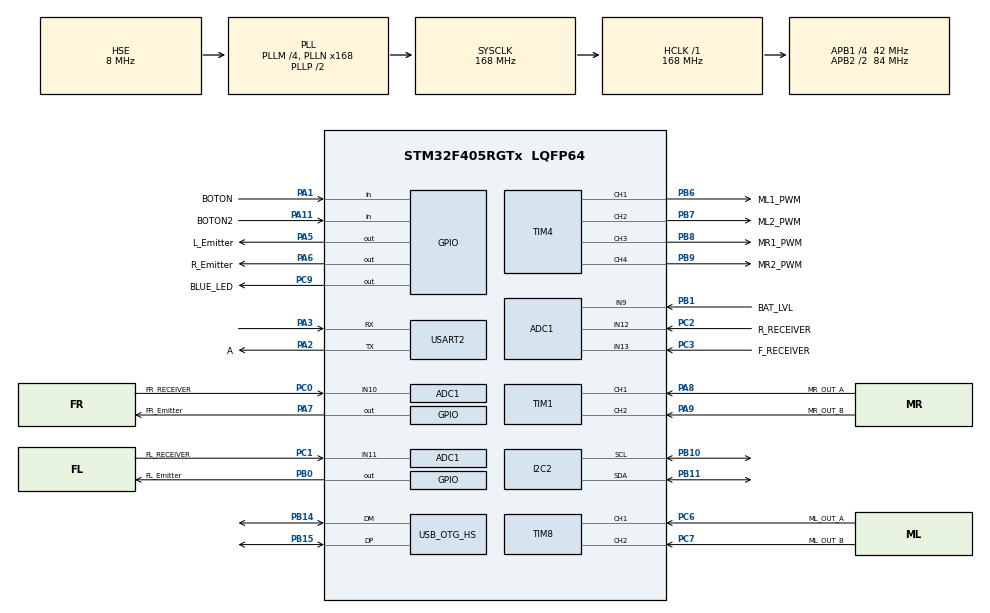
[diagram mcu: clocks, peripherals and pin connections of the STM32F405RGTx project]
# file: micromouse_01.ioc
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ADC1.Channel-0\#ChannelRegularConversion=ADC_CHANNEL_10
ADC1.NbrOfConversionFlag=1
ADC1.Rank-0\#ChannelRegularConversion=1
ADC1.SamplingTime-0\#ChannelRegularConversion=ADC_SAMPLETIME_3CYCLES
ADC1.master=1
Mcu.Family=STM32F4
Mcu.Name=STM32F405RGTx
Mcu.Package=LQFP64
NVIC.PriorityGroup=NVIC_PRIORITYGROUP_4
PA1.GPIO_Label=BOTON
PA1.GPIO_PuPd=GPIO_NOPULL
PA1.Signal=GPIO_Input
PA11.GPIO_Label=BOTON2
PA11.GPIO_PuPd=GPIO_NOPULL
PA11.Signal=GPIO_Input
PA13.Mode=Serial_Wire
PA13.Signal=SYS_JTMS-SWDIO
PA14.Mode=Serial_Wire
PA14.Signal=SYS_JTCK-SWCLK
PA2.GPIO_Label=A
PA2.Mode=Asynchronous
PA2.Signal=USART2_TX
PA3.Mode=Asynchronous
PA3.Signal=USART2_RX
PA5.GPIO_Label=L_Emitter
PA5.Signal=GPIO_Output
PA6.GPIO_Label=R_Emitter
PA6.Signal=GPIO_Output
PA7.GPIO_Label=FR_Emitter
PA7.Signal=GPIO_Output
PA8.GPIO_Label=MR_OUT_A
PA8.Signal=S_TIM1_CH1
PA9.GPIO_Label=MR_OUT_B
PA9.Signal=S_TIM1_CH2
PB0.GPIO_Label=FL_Emitter
PB0.Signal=GPIO_Output
PB1.GPIO_Label=BAT_LVL
PB1.Signal=ADCx_IN9
PB10.Mode=I2C
PB10.Signal=I2C2_SCL
PB11.Mode=I2C
PB11.Signal=I2C2_SDA
PB14.Mode=Device_Only_FS
PB14.Signal=USB_OTG_HS_DM
PB15.Mode=Device_Only_FS
PB15.Signal=USB_OTG_HS_DP
PB6.GPIO_Label=ML1_PWM
PB6.Signal=S_TIM4_CH1
PB7.GPIO_Label=ML2_PWM
PB7.Signal=S_TIM4_CH2
PB8.GPIO_Label=MR1_PWM
PB8.Signal=S_TIM4_CH3
PB9.GPIO_Label=MR2_PWM
PB9.Signal=S_TIM4_CH4
PC0.GPIO_Label=FR_RECEIVER
PC0.Signal=ADCx_IN10
PC1.GPIO_Label=FL_RECEIVER
PC1.Signal=ADCx_IN11
PC2.GPIO_Label=R_RECEIVER
PC2.Signal=ADCx_IN12
PC3.GPIO_Label=F_RECEIVER
PC3.Signal=ADCx_IN13
PC6.GPIO_Label=ML_OUT_A
PC6.Signal=S_TIM8_CH1
PC7.GPIO_Label=ML_OUT_B
PC7.Signal=S_TIM8_CH2
PC9.GPIO_Label=BLUE_LED
PC9.Signal=GPIO_Output
PH0-OSC_IN.Mode=HSE-External-Oscillator
PH0-OSC_IN.Signal=RCC_OSC_IN
PH1-OSC_OUT.Mode=HSE-External-Oscillator
PH1-OSC_OUT.Signal=RCC_OSC_OUT
ProjectManager.HeapSize=0x200
ProjectManager.StackSize=0x400
ProjectManager.TargetToolchain=STM32CubeIDE
RCC.48MHZClocksFreq_Value=48000000
RCC.AHBFreq_Value=168000000
RCC.APB1CLKDivider=RCC_HCLK_DIV4
RCC.APB1Freq_Value=42000000
RCC.APB1TimFreq_Value=84000000
RCC.APB2CLKDivider=RCC_HCLK_DIV2
RCC.APB2Freq_Value=84000000
RCC.APB2TimFreq_Value=168000000
RCC.CortexFreq_Value=168000000
RCC.HCLKFreq_Value=168000000
RCC.HSE_VALUE=8000000
RCC.HSI_VALUE=16000000
RCC.LSE_VALUE=32768
RCC.PLLM=4
RCC.PLLN=168
RCC.PLLQ=7
RCC.SYSCLKFreq_VALUE=168000000
RCC.SYSCLKSource=RCC_SYSCLKSOURCE_PLLCLK
RCC.VCOOutputFreq_Value=336000000
SH.ADCx_IN10.0=ADC1_IN10,IN10
SH.ADCx_IN11.0=ADC1_IN11,IN11
SH.ADCx_IN12.0=ADC1_IN12,IN12
SH.ADCx_IN13.0=ADC1_IN13,IN13
SH.ADCx_IN9.0=ADC1_IN9,IN9
SH.S_TIM1_CH1.0=TIM1_CH1,Encoder_Interface
SH.S_TIM1_CH2.0=TIM1_CH2,Encoder_Interface
SH.S_TIM4_CH1.0=TIM4_CH1,PWM Generation1 CH1
SH.S_TIM4_CH2.0=TIM4_CH2,PWM Generation2 CH2
SH.S_TIM4_CH3.0=TIM4_CH3,PWM Generation3 CH3
SH.S_TIM4_CH4.0=TIM4_CH4,PWM Generation4 CH4
SH.S_TIM8_CH1.0=TIM8_CH1,Encoder_Interface
SH.S_TIM8_CH2.0=TIM8_CH2,Encoder_Interface
TIM4.AutoReloadPreload=TIM_AUTORELOAD_PRELOAD_DISABLE
TIM4.Channel-PWM\ Generation1\ CH1=TIM_CHANNEL_1
TIM4.Channel-PWM\ Generation2\ CH2=TIM_CHANNEL_2
TIM4.Channel-PWM\ Generation3\ CH3=TIM_CHANNEL_3
TIM4.Channel-PWM\ Generation4\ CH4=TIM_CHANNEL_4
USART2.VirtualMode=VM_ASYNC
USB_OTG_HS.VirtualMode-Device_Only_FS=Device_Only_FS
board=custom

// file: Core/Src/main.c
/* USER CODE BEGIN Header */
/**
  ******************************************************************************
  * @file           : main.c
  * @brief          : Main program body
  ******************************************************************************
  * @attention
  *
  * Copyright (c) 2023 STMicroelectronics.
  * All rights reserved.
  *
  * This software is licensed under terms that can be found in the LICENSE file
  * in the root directory of this software component.
  * If no LICENSE file comes with this software, it is provided AS-IS.
  *
  ******************************************************************************
  */
/* USER CODE END Header */
#include "main.h"

/* USER CODE BEGIN Includes */
#include "irs.h"
#include "delay.h"
#include "motors.h"
#include "encoders.h"
#include "mpu6500.h"
#include "vl6180x.h"
/* USER CODE END Includes */

ADC_HandleTypeDef hadc1;

I2C_HandleTypeDef hi2c2;

TIM_HandleTypeDef htim1;
TIM_HandleTypeDef htim4;
TIM_HandleTypeDef htim8;

UART_HandleTypeDef huart2;

PCD_HandleTypeDef hpcd_USB_OTG_HS;

/* USER CODE BEGIN PV */
int16_t leftMotor_counts = 0;
int16_t rightMotor_counts = 0;

int16_t left_IR;
int16_t right_IR;
int16_t front_left_IR;
int16_t front_right_IR;

int16_t* mpu_data;
/* USER CODE END PV */

void SystemClock_Config(void);
static void MX_GPIO_Init(void);
static void MX_ADC1_Init(void);
static void MX_I2C2_Init(void);
static void MX_TIM1_Init(void);
static void MX_TIM4_Init(void);
static void MX_TIM8_Init(void);
static void MX_USART2_UART_Init(void);
static void MX_USB_OTG_HS_PCD_Init(void);

int main(void)
{

  /* MCU Configuration--------------------------------------------------------*/

  /* Reset of all peripherals, Initializes the Flash interface and the Systick. */
  HAL_Init();

  /* USER CODE BEGIN Init */
  Delay_Init();

  /* USER CODE END Init */

  /* Configure the system clock */
  SystemClock_Config();

  /* Initialize all configured peripherals */
  MX_GPIO_Init();
  MX_ADC1_Init();
  MX_I2C2_Init();
  MX_TIM1_Init();
  MX_TIM4_Init();
  MX_TIM8_Init();
  MX_USART2_UART_Init();
  MX_USB_OTG_HS_PCD_Init();

  /* USER CODE BEGIN 2 */

  //Inicialización I2C

  //MPU6500
  mpu6500_init();

  //vl6180x
  vl6180_init();

  // Timers PWM - Motores
  HAL_TIM_PWM_Start(&htim4, TIM_CHANNEL_1); //L_Emitter
  HAL_TIM_PWM_Start(&htim4, TIM_CHANNEL_2); //R_Emitter
  HAL_TIM_PWM_Start(&htim4, TIM_CHANNEL_3); //FR_Emitter
  HAL_TIM_PWM_Start(&htim4, TIM_CHANNEL_4); //FL_Emitter

  // Timers ENCODERS
  HAL_TIM_Encoder_Start(&htim1, TIM_CHANNEL_ALL);
  HAL_TIM_Encoder_Start(&htim8, TIM_CHANNEL_ALL);

  /* USER CODE END 2 */

  /* Infinite loop */
  while (1)
  {

    /* USER CODE BEGIN 3 */
	leftMotor_counts = getLeftEncoderCounts();
	rightMotor_counts = getRightEncoderCounts();

	left_IR = readIR(IR_LEFT);
	right_IR = readIR(IR_RIGHT);
	front_left_IR = readIR(IR_FRONT_LEFT);
	front_right_IR = readIR(IR_FRONT_RIGHT);

	//Lectura del MPU
	mpu_data = mpu6500_read();

  }
  /* USER CODE END 3 */
}

void SystemClock_Config(void)
{
  RCC_OscInitTypeDef RCC_OscInitStruct = {0};
  RCC_ClkInitTypeDef RCC_ClkInitStruct = {0};

  /** Configure the main internal regulator output voltage
  */
  __HAL_RCC_PWR_CLK_ENABLE();
  __HAL_PWR_VOLTAGESCALING_CONFIG(PWR_REGULATOR_VOLTAGE_SCALE1);

  /** Initializes the RCC Oscillators according to the specified parameters
  * in the RCC_OscInitTypeDef structure.
  */
  RCC_OscInitStruct.OscillatorType = RCC_OSCILLATORTYPE_HSE;
  RCC_OscInitStruct.HSEState = RCC_HSE_ON;
  RCC_OscInitStruct.PLL.PLLState = RCC_PLL_ON;
  RCC_OscInitStruct.PLL.PLLSource = RCC_PLLSOURCE_HSE;
  RCC_OscInitStruct.PLL.PLLM = 4;
  RCC_OscInitStruct.PLL.PLLN = 168;
  RCC_OscInitStruct.PLL.PLLP = RCC_PLLP_DIV2;
  RCC_OscInitStruct.PLL.PLLQ = 7;
  if (HAL_RCC_OscConfig(&RCC_OscInitStruct) != HAL_OK)
  {
    Error_Handler();
  }

  /** Initializes the CPU, AHB and APB buses clocks
  */
  RCC_ClkInitStruct.ClockType = RCC_CLOCKTYPE_HCLK|RCC_CLOCKTYPE_SYSCLK
                              |RCC_CLOCKTYPE_PCLK1|RCC_CLOCKTYPE_PCLK2;
  RCC_ClkInitStruct.SYSCLKSource = RCC_SYSCLKSOURCE_PLLCLK;
  RCC_ClkInitStruct.AHBCLKDivider = RCC_SYSCLK_DIV1;
  RCC_ClkInitStruct.APB1CLKDivider = RCC_HCLK_DIV4;
  RCC_ClkInitStruct.APB2CLKDivider = RCC_HCLK_DIV2;

  if (HAL_RCC_ClockConfig(&RCC_ClkInitStruct, FLASH_LATENCY_5) != HAL_OK)
  {
    Error_Handler();
  }
}

static void MX_ADC1_Init(void)
{

  ADC_ChannelConfTypeDef sConfig = {0};

  /** Configure the global features of the ADC (Clock, Resolution, Data Alignment and number of conversion)
  */
  hadc1.Instance = ADC1;
  hadc1.Init.ClockPrescaler = ADC_CLOCK_SYNC_PCLK_DIV4;
  hadc1.Init.Resolution = ADC_RESOLUTION_12B;
  hadc1.Init.ScanConvMode = DISABLE;
  hadc1.Init.ContinuousConvMode = DISABLE;
  hadc1.Init.DiscontinuousConvMode = DISABLE;
  hadc1.Init.ExternalTrigConvEdge = ADC_EXTERNALTRIGCONVEDGE_NONE;
  hadc1.Init.ExternalTrigConv = ADC_SOFTWARE_START;
  hadc1.Init.DataAlign = ADC_DATAALIGN_RIGHT;
  hadc1.Init.NbrOfConversion = 1;
  hadc1.Init.DMAContinuousRequests = DISABLE;
  hadc1.Init.EOCSelection = ADC_EOC_SINGLE_CONV;
  if (HAL_ADC_Init(&hadc1) != HAL_OK)
  {
    Error_Handler();
  }

  /** Configure for the selected ADC regular channel its corresponding rank in the sequencer and its sample time.
  */
  sConfig.Channel = ADC_CHANNEL_10;
  sConfig.Rank = 1;
  sConfig.SamplingTime = ADC_SAMPLETIME_3CYCLES;
  if (HAL_ADC_ConfigChannel(&hadc1, &sConfig) != HAL_OK)
  {
    Error_Handler();
  }

}

static void MX_I2C2_Init(void)
{

  hi2c2.Instance = I2C2;
  hi2c2.Init.ClockSpeed = 100000;
  hi2c2.Init.DutyCycle = I2C_DUTYCYCLE_2;
  hi2c2.Init.OwnAddress1 = 0;
  hi2c2.Init.AddressingMode = I2C_ADDRESSINGMODE_7BIT;
  hi2c2.Init.DualAddressMode = I2C_DUALADDRESS_DISABLE;
  hi2c2.Init.OwnAddress2 = 0;
  hi2c2.Init.GeneralCallMode = I2C_GENERALCALL_DISABLE;
  hi2c2.Init.NoStretchMode = I2C_NOSTRETCH_DISABLE;
  if (HAL_I2C_Init(&hi2c2) != HAL_OK)
  {
    Error_Handler();
  }

}

static void MX_TIM1_Init(void)
{

  TIM_Encoder_InitTypeDef sConfig = {0};
  TIM_MasterConfigTypeDef sMasterConfig = {0};

  htim1.Instance = TIM1;
  htim1.Init.Prescaler = 0;
  htim1.Init.CounterMode = TIM_COUNTERMODE_UP;
  htim1.Init.Period = 65535;
  htim1.Init.ClockDivision = TIM_CLOCKDIVISION_DIV1;
  htim1.Init.RepetitionCounter = 0;
  htim1.Init.AutoReloadPreload = TIM_AUTORELOAD_PRELOAD_DISABLE;
  sConfig.EncoderMode = TIM_ENCODERMODE_TI1;
  sConfig.IC1Polarity = TIM_ICPOLARITY_RISING;
  sConfig.IC1Selection = TIM_ICSELECTION_DIRECTTI;
  sConfig.IC1Prescaler = TIM_ICPSC_DIV1;
  sConfig.IC1Filter = 0;
  sConfig.IC2Polarity = TIM_ICPOLARITY_RISING;
  sConfig.IC2Selection = TIM_ICSELECTION_DIRECTTI;
  sConfig.IC2Prescaler = TIM_ICPSC_DIV1;
  sConfig.IC2Filter = 0;
  if (HAL_TIM_Encoder_Init(&htim1, &sConfig) != HAL_OK)
  {
    Error_Handler();
  }
  sMasterConfig.MasterOutputTrigger = TIM_TRGO_RESET;
  sMasterConfig.MasterSlaveMode = TIM_MASTERSLAVEMODE_DISABLE;
  if (HAL_TIMEx_MasterConfigSynchronization(&htim1, &sMasterConfig) != HAL_OK)
  {
    Error_Handler();
  }

}

static void MX_TIM4_Init(void)
{

  TIM_MasterConfigTypeDef sMasterConfig = {0};
  TIM_OC_InitTypeDef sConfigOC = {0};

  htim4.Instance = TIM4;
  htim4.Init.Prescaler = 0;
  htim4.Init.CounterMode = TIM_COUNTERMODE_UP;
  htim4.Init.Period = 65535;
  htim4.Init.ClockDivision = TIM_CLOCKDIVISION_DIV1;
  htim4.Init.AutoReloadPreload = TIM_AUTORELOAD_PRELOAD_DISABLE;
  if (HAL_TIM_PWM_Init(&htim4) != HAL_OK)
  {
    Error_Handler();
  }
  sMasterConfig.MasterOutputTrigger = TIM_TRGO_RESET;
  sMasterConfig.MasterSlaveMode = TIM_MASTERSLAVEMODE_DISABLE;
  if (HAL_TIMEx_MasterConfigSynchronization(&htim4, &sMasterConfig) != HAL_OK)
  {
    Error_Handler();
  }
  sConfigOC.OCMode = TIM_OCMODE_PWM1;
  sConfigOC.Pulse = 0;
  sConfigOC.OCPolarity = TIM_OCPOLARITY_HIGH;
  sConfigOC.OCFastMode = TIM_OCFAST_DISABLE;
  if (HAL_TIM_PWM_ConfigChannel(&htim4, &sConfigOC, TIM_CHANNEL_1) != HAL_OK)
  {
    Error_Handler();
  }
  if (HAL_TIM_PWM_ConfigChannel(&htim4, &sConfigOC, TIM_CHANNEL_2) != HAL_OK)
  {
    Error_Handler();
  }
  if (HAL_TIM_PWM_ConfigChannel(&htim4, &sConfigOC, TIM_CHANNEL_3) != HAL_OK)
  {
    Error_Handler();
  }
  if (HAL_TIM_PWM_ConfigChannel(&htim4, &sConfigOC, TIM_CHANNEL_4) != HAL_OK)
  {
    Error_Handler();
  }
  HAL_TIM_MspPostInit(&htim4);

}

static void MX_TIM8_Init(void)
{

  TIM_Encoder_InitTypeDef sConfig = {0};
  TIM_MasterConfigTypeDef sMasterConfig = {0};

  htim8.Instance = TIM8;
  htim8.Init.Prescaler = 0;
  htim8.Init.CounterMode = TIM_COUNTERMODE_UP;
  htim8.Init.Period = 65535;
  htim8.Init.ClockDivision = TIM_CLOCKDIVISION_DIV1;
  htim8.Init.RepetitionCounter = 0;
  htim8.Init.AutoReloadPreload = TIM_AUTORELOAD_PRELOAD_DISABLE;
  sConfig.EncoderMode = TIM_ENCODERMODE_TI1;
  sConfig.IC1Polarity = TIM_ICPOLARITY_RISING;
  sConfig.IC1Selection = TIM_ICSELECTION_DIRECTTI;
  sConfig.IC1Prescaler = TIM_ICPSC_DIV1;
  sConfig.IC1Filter = 0;
  sConfig.IC2Polarity = TIM_ICPOLARITY_RISING;
  sConfig.IC2Selection = TIM_ICSELECTION_DIRECTTI;
  sConfig.IC2Prescaler = TIM_ICPSC_DIV1;
  sConfig.IC2Filter = 0;
  if (HAL_TIM_Encoder_Init(&htim8, &sConfig) != HAL_OK)
  {
    Error_Handler();
  }
  sMasterConfig.MasterOutputTrigger = TIM_TRGO_RESET;
  sMasterConfig.MasterSlaveMode = TIM_MASTERSLAVEMODE_DISABLE;
  if (HAL_TIMEx_MasterConfigSynchronization(&htim8, &sMasterConfig) != HAL_OK)
  {
    Error_Handler();
  }

}

static void MX_USART2_UART_Init(void)
{

  huart2.Instance = USART2;
  huart2.Init.BaudRate = 115200;
  huart2.Init.WordLength = UART_WORDLENGTH_8B;
  huart2.Init.StopBits = UART_STOPBITS_1;
  huart2.Init.Parity = UART_PARITY_NONE;
  huart2.Init.Mode = UART_MODE_TX_RX;
  huart2.Init.HwFlowCtl = UART_HWCONTROL_NONE;
  huart2.Init.OverSampling = UART_OVERSAMPLING_16;
  if (HAL_UART_Init(&huart2) != HAL_OK)
  {
    Error_Handler();
  }

}

static void MX_USB_OTG_HS_PCD_Init(void)
{

  hpcd_USB_OTG_HS.Instance = USB_OTG_HS;
  hpcd_USB_OTG_HS.Init.dev_endpoints = 6;
  hpcd_USB_OTG_HS.Init.speed = PCD_SPEED_FULL;
  hpcd_USB_OTG_HS.Init.dma_enable = DISABLE;
  hpcd_USB_OTG_HS.Init.phy_itface = USB_OTG_EMBEDDED_PHY;
  hpcd_USB_OTG_HS.Init.Sof_enable = DISABLE;
  hpcd_USB_OTG_HS.Init.low_power_enable = DISABLE;
  hpcd_USB_OTG_HS.Init.lpm_enable = DISABLE;
  hpcd_USB_OTG_HS.Init.vbus_sensing_enable = DISABLE;
  hpcd_USB_OTG_HS.Init.use_dedicated_ep1 = DISABLE;
  hpcd_USB_OTG_HS.Init.use_external_vbus = DISABLE;
  if (HAL_PCD_Init(&hpcd_USB_OTG_HS) != HAL_OK)
  {
    Error_Handler();
  }

}

static void MX_GPIO_Init(void)
{
  GPIO_InitTypeDef GPIO_InitStruct = {0};

  /* GPIO Ports Clock Enable */
  __HAL_RCC_GPIOH_CLK_ENABLE();
  __HAL_RCC_GPIOC_CLK_ENABLE();
  __HAL_RCC_GPIOA_CLK_ENABLE();
  __HAL_RCC_GPIOB_CLK_ENABLE();

  /*Configure GPIO pin Output Level */
  HAL_GPIO_WritePin(GPIOA, L_Emitter_Pin|R_Emitter_Pin|FR_Emitter_Pin, GPIO_PIN_RESET);

  /*Configure GPIO pin Output Level */
  HAL_GPIO_WritePin(FL_Emitter_GPIO_Port, FL_Emitter_Pin, GPIO_PIN_RESET);

  /*Configure GPIO pin Output Level */
  HAL_GPIO_WritePin(BLUE_LED_GPIO_Port, BLUE_LED_Pin, GPIO_PIN_RESET);

  /*Configure GPIO pins : BOTON_Pin BOTON2_Pin */
  GPIO_InitStruct.Pin = BOTON_Pin|BOTON2_Pin;
  GPIO_InitStruct.Mode = GPIO_MODE_INPUT;
  GPIO_InitStruct.Pull = GPIO_NOPULL;
  HAL_GPIO_Init(GPIOA, &GPIO_InitStruct);

  /*Configure GPIO pins : L_Emitter_Pin R_Emitter_Pin FR_Emitter_Pin */
  GPIO_InitStruct.Pin = L_Emitter_Pin|R_Emitter_Pin|FR_Emitter_Pin;
  GPIO_InitStruct.Mode = GPIO_MODE_OUTPUT_PP;
  GPIO_InitStruct.Pull = GPIO_NOPULL;
  GPIO_InitStruct.Speed = GPIO_SPEED_FREQ_LOW;
  HAL_GPIO_Init(GPIOA, &GPIO_InitStruct);

  /*Configure GPIO pin : FL_Emitter_Pin */
  GPIO_InitStruct.Pin = FL_Emitter_Pin;
  GPIO_InitStruct.Mode = GPIO_MODE_OUTPUT_PP;
  GPIO_InitStruct.Pull = GPIO_NOPULL;
  GPIO_InitStruct.Speed = GPIO_SPEED_FREQ_LOW;
  HAL_GPIO_Init(FL_Emitter_GPIO_Port, &GPIO_InitStruct);

  /*Configure GPIO pin : BLUE_LED_Pin */
  GPIO_InitStruct.Pin = BLUE_LED_Pin;
  GPIO_InitStruct.Mode = GPIO_MODE_OUTPUT_PP;
  GPIO_InitStruct.Pull = GPIO_NOPULL;
  GPIO_InitStruct.Speed = GPIO_SPEED_FREQ_LOW;
  HAL_GPIO_Init(BLUE_LED_GPIO_Port, &GPIO_InitStruct);

}

/* USER CODE BEGIN 4 */
ADC_HandleTypeDef* Get_HADC1_Ptr(void)
{
    return &hadc1;
}

/* USER CODE END 4 */

void Error_Handler(void)
{
  __disable_irq();
  while (1)
  {
  }
}
